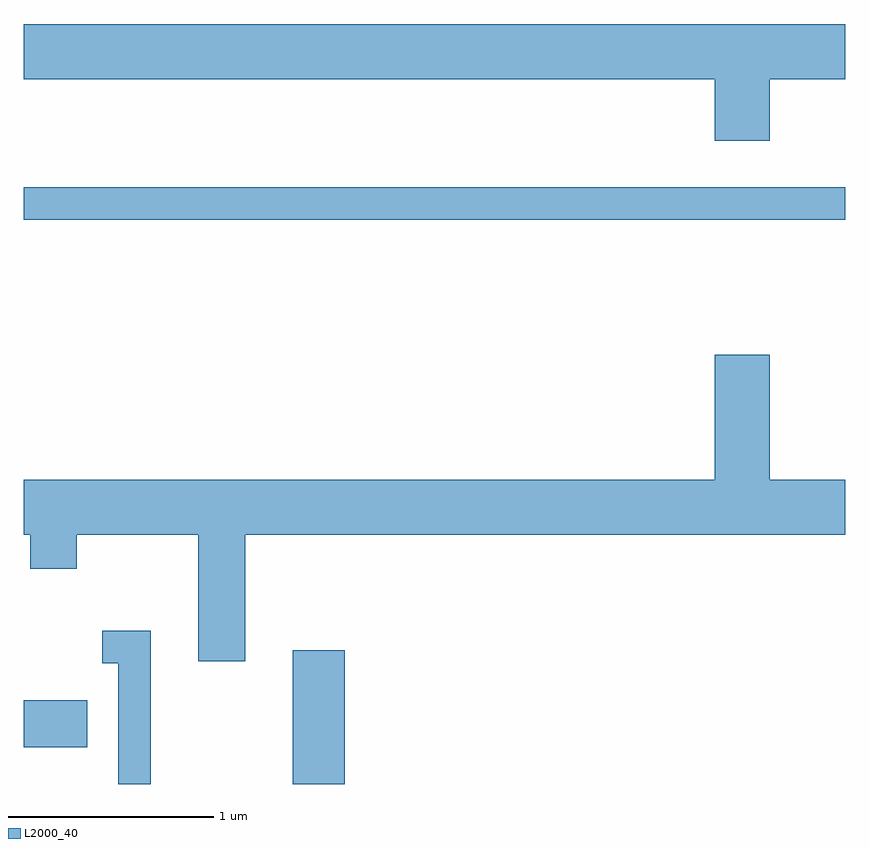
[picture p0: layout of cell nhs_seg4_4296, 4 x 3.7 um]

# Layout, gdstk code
import gdstk
lib = gdstk.Library(unit=1e-6, precision=1e-09)
def R(c, l, rs):  # rectangles x0, y0, x1, y1
    for r in rs: c.add(gdstk.rectangle(r[:2], r[2:], *l))
def P(c, l, *ps):  # polygons
    for p in ps: c.add(gdstk.Polygon(p, *l))
L2000_40 = (2000, 40)

nhs_seg4_4296 = lib.new_cell('nhs_seg4_4296')
R(nhs_seg4_4296, L2000_40, [(312.921,1277.982,313.174,1278.634), (311.611,1278.161,311.919,1278.389), (311.611,1280.731,315.611,1280.889)])
P(nhs_seg4_4296, L2000_40, [(315.244,1281.416),(315.611,1281.416),(315.611,1281.684),(311.611,1281.684),(311.611,1281.416),(314.976,1281.416),(314.976,1281.116),(315.244,1281.116)],
  [(312.689,1279.196),(315.611,1279.196),(315.611,1279.464),(315.244,1279.464),(315.244,1280.074),(314.976,1280.074),(314.976,1279.464),(311.611,1279.464),(311.611,1279.196),(311.641,1279.196),(311.641,1279.031),(311.869,1279.031),(311.869,1279.196),(312.461,1279.196),(312.461,1278.581),(312.689,1278.581)],
  [(312.229,1278.729),(311.993,1278.729),(311.993,1278.571),(312.071,1278.571),(312.071,1277.982),(312.229,1277.982)])

lib.write_gds('nhs_seg4_4296.gds')
